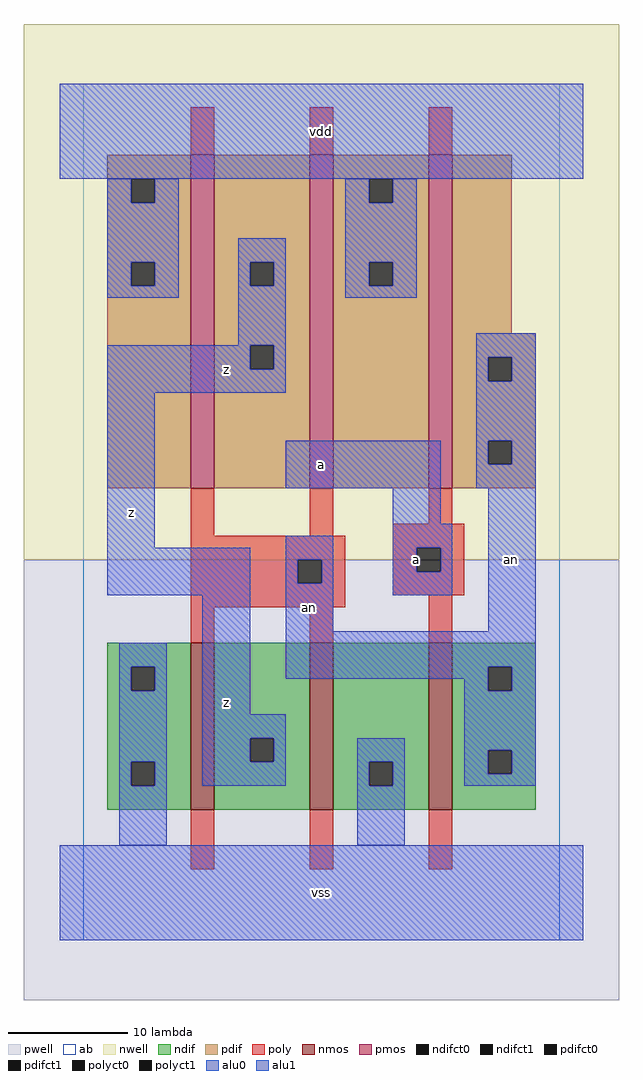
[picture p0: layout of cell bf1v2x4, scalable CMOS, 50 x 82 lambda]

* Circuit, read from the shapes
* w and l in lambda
.subckt bf1v2x4 a an vdd vss z
M1 z an vss VSUBS nfet w=14 l=2 m=2
M2 an a vss VSUBS nfet w=14 l=2
M3 z an vdd n1 pfet w=28 l=2 m=2
M4 an a vdd n1 pfet w=28 l=2
.ends

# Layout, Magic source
magic
tech scmos
<< ab >>
rect 0 0 40 72
<< nwell >>
rect -5 32 45 77
<< pwell >>
rect -5 -5 45 32
<< poly >>
rect 9 66 11 70
rect 19 66 21 70
rect 29 66 31 70
rect 9 34 11 38
rect 19 34 21 38
rect 29 35 31 38
rect 9 32 22 34
rect 9 30 18 32
rect 20 30 22 32
rect 9 28 22 30
rect 26 33 32 35
rect 26 31 28 33
rect 30 31 32 33
rect 26 29 32 31
rect 9 25 11 28
rect 19 25 21 28
rect 29 25 31 29
rect 9 6 11 11
rect 19 6 21 11
rect 29 6 31 11
<< ndif >>
rect 2 23 9 25
rect 2 21 4 23
rect 6 21 9 23
rect 2 15 9 21
rect 2 13 4 15
rect 6 13 9 15
rect 2 11 9 13
rect 11 17 19 25
rect 11 15 14 17
rect 16 15 19 17
rect 11 11 19 15
rect 21 15 29 25
rect 21 13 24 15
rect 26 13 29 15
rect 21 11 29 13
rect 31 23 38 25
rect 31 21 34 23
rect 36 21 38 23
rect 31 16 38 21
rect 31 14 34 16
rect 36 14 38 16
rect 31 11 38 14
<< pdif >>
rect 2 64 9 66
rect 2 62 4 64
rect 6 62 9 64
rect 2 57 9 62
rect 2 55 4 57
rect 6 55 9 57
rect 2 38 9 55
rect 11 57 19 66
rect 11 55 14 57
rect 16 55 19 57
rect 11 50 19 55
rect 11 48 14 50
rect 16 48 19 50
rect 11 38 19 48
rect 21 64 29 66
rect 21 62 24 64
rect 26 62 29 64
rect 21 57 29 62
rect 21 55 24 57
rect 26 55 29 57
rect 21 38 29 55
rect 31 51 36 66
rect 31 49 38 51
rect 31 47 34 49
rect 36 47 38 49
rect 31 42 38 47
rect 31 40 34 42
rect 36 40 38 42
rect 31 38 38 40
<< alu1 >>
rect -2 64 42 72
rect 13 57 17 59
rect 13 55 14 57
rect 16 55 17 57
rect 13 50 17 55
rect 2 48 14 50
rect 16 48 17 50
rect 2 46 17 48
rect 2 33 6 46
rect 17 38 30 42
rect 26 35 30 38
rect 2 29 14 33
rect 10 19 14 29
rect 26 33 31 35
rect 26 31 28 33
rect 30 31 31 33
rect 26 29 31 31
rect 10 17 17 19
rect 10 15 14 17
rect 16 15 17 17
rect 10 13 17 15
rect -2 0 42 8
<< nmos >>
rect 9 11 11 25
rect 19 11 21 25
rect 29 11 31 25
<< pmos >>
rect 9 38 11 66
rect 19 38 21 66
rect 29 38 31 66
<< polyct0 >>
rect 18 30 20 32
<< polyct1 >>
rect 28 31 30 33
<< ndifct0 >>
rect 4 21 6 23
rect 4 13 6 15
rect 24 13 26 15
rect 34 21 36 23
rect 34 14 36 16
<< ndifct1 >>
rect 14 15 16 17
<< pdifct0 >>
rect 4 62 6 64
rect 4 55 6 57
rect 24 62 26 64
rect 24 55 26 57
rect 34 47 36 49
rect 34 40 36 42
<< pdifct1 >>
rect 14 55 16 57
rect 14 48 16 50
<< alu0 >>
rect 2 62 4 64
rect 6 62 8 64
rect 2 57 8 62
rect 22 62 24 64
rect 26 62 28 64
rect 2 55 4 57
rect 6 55 8 57
rect 2 54 8 55
rect 22 57 28 62
rect 22 55 24 57
rect 26 55 28 57
rect 22 54 28 55
rect 33 49 38 51
rect 33 47 34 49
rect 36 47 38 49
rect 33 42 38 47
rect 33 40 34 42
rect 36 40 38 42
rect 33 38 38 40
rect 3 23 7 25
rect 3 21 4 23
rect 6 21 7 23
rect 3 15 7 21
rect 3 13 4 15
rect 6 13 7 15
rect 17 32 21 34
rect 17 30 18 32
rect 20 30 21 32
rect 17 26 21 30
rect 34 26 38 38
rect 17 23 38 26
rect 17 22 34 23
rect 32 21 34 22
rect 36 21 38 23
rect 23 15 27 17
rect 23 13 24 15
rect 26 13 27 15
rect 32 16 38 21
rect 32 14 34 16
rect 36 14 38 16
rect 32 13 38 14
rect 3 8 7 13
rect 23 8 27 13
<< labels >>
rlabel alu0 19 28 19 28 6 an
rlabel alu0 36 32 36 32 6 an
rlabel alu1 4 36 4 36 6 z
rlabel alu1 12 20 12 20 6 z
rlabel alu1 12 48 12 48 6 z
rlabel alu1 20 4 20 4 6 vss
rlabel alu1 28 32 28 32 6 a
rlabel alu1 20 40 20 40 6 a
rlabel alu1 20 68 20 68 6 vdd
<< end >>
